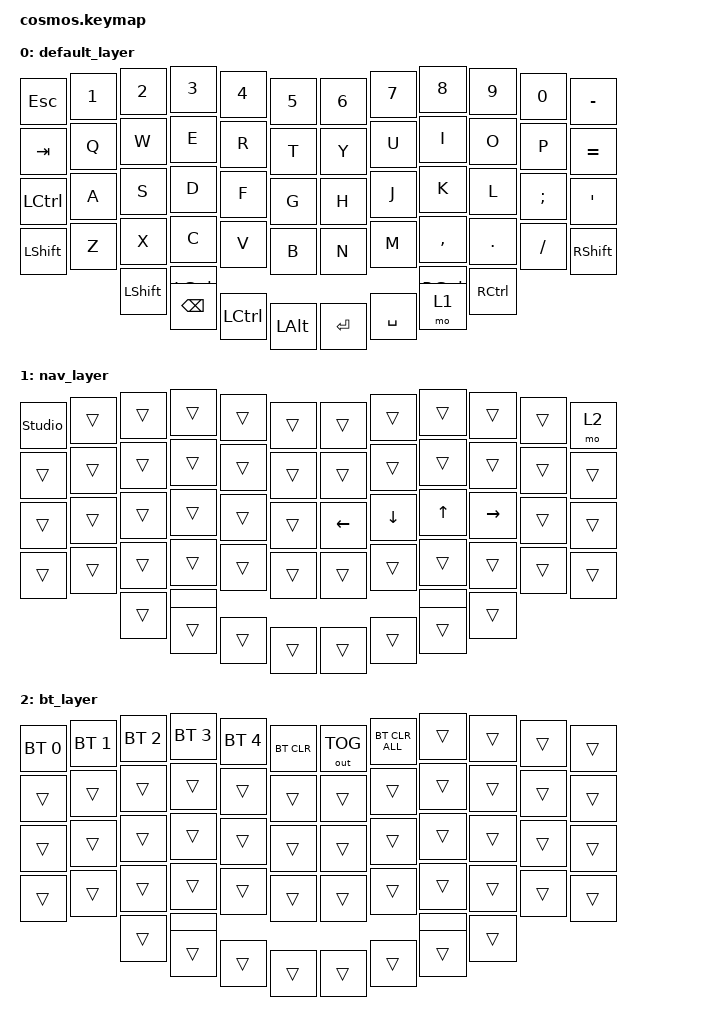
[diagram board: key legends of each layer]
#include <behaviors.dtsi>
#include <dt-bindings/zmk/keys.h>
#include <dt-bindings/zmk/bt.h>
#include <dt-bindings/zmk/outputs.h>

/ {
    keymap {
        compatible = "zmk,keymap";

        default_layer {
            bindings = <
            &kp ESC    &kp N1 &kp N2 &kp N3    &kp N4 &kp N5               &kp N6    &kp N7 &kp N8    &kp N9    &kp N0    &kp MINUS
            &kp TAB    &kp Q  &kp W  &kp E     &kp R  &kp T                &kp Y     &kp U  &kp I     &kp O     &kp P     &kp EQUAL
            &kp LCTRL  &kp A  &kp S  &kp D     &kp F  &kp G                &kp H     &kp J  &kp K     &kp L     &kp SEMI  &kp SQT
            &kp LSHIFT &kp Z  &kp X  &kp C     &kp V  &kp B                &kp N     &kp M  &kp COMMA &kp DOT   &kp FSLH  &kp RSHIFT
            &kp LSHIFT &kp LGUI                                                                       &kp RGUI  &kp RCTRL
                                      &kp BSPC &kp LCTRL &kp LALT           &kp ENTER &kp SPACE &mo 1
            >;
        };

        nav_layer {
            bindings = <
            &studio_unlock &trans &trans &trans &trans &trans                 &trans    &trans   &trans  &trans    &trans &mo 2
            &trans &trans &trans &trans &trans &trans                         &trans    &trans   &trans  &trans    &trans &trans
            &trans &trans &trans &trans &trans &trans                         &kp LEFT  &kp DOWN &kp UP  &kp RIGHT &trans &trans
            &trans &trans &trans &trans &trans &trans                         &trans    &trans   &trans  &trans    &trans &trans
            &trans &trans                                                                                &trans    &trans
                                       &trans &trans &trans                  &trans    &trans   &trans
            >;
        };

        // Reached by holding nav_layer's mo(1) thumb key + the top-right key (mo 2).
        // BT_CLR only clears the currently selected profile's bond, not the others,
        // Studio's stored keymap, or the peripheral <-> central split pairing.
        // BT_CLR_ALL sits away from the mo(2) key itself (position 11) since that key
        // is held down to reach this layer and can't also emit a tap on this layer.
        bt_layer {
            bindings = <
            &bt BT_SEL 0 &bt BT_SEL 1 &bt BT_SEL 2 &bt BT_SEL 3 &bt BT_SEL 4 &bt BT_CLR    &out OUT_TOG &bt BT_CLR_ALL &trans &trans &trans &trans
            &trans       &trans       &trans       &trans       &trans       &trans        &trans       &trans &trans &trans &trans &trans
            &trans       &trans       &trans       &trans       &trans       &trans        &trans       &trans &trans &trans &trans &trans
            &trans       &trans       &trans       &trans       &trans       &trans        &trans       &trans &trans &trans &trans &trans
            &trans       &trans                                                                                       &trans &trans
                                                     &trans       &trans       &trans        &trans       &trans &trans
            >;
        };
    };
};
